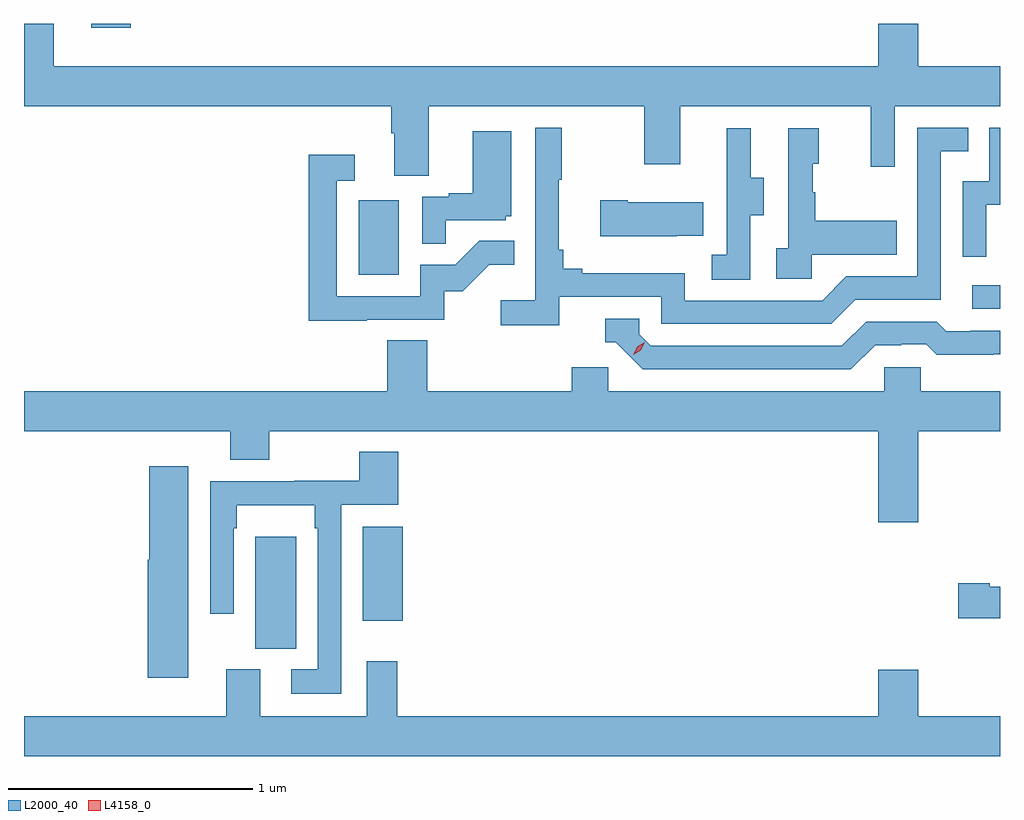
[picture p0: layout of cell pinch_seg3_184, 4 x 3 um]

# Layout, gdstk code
import gdstk
lib = gdstk.Library(unit=1e-6, precision=1e-09)
def R(c, l, rs):  # rectangles x0, y0, x1, y1
    for r in rs: c.add(gdstk.rectangle(r[:2], r[2:], *l))
def P(c, l, *ps):  # polygons
    for p in ps: c.add(gdstk.Polygon(p, *l))
L2000_40 = (2000, 40)
L4158_0 = (4158, 0)

pinch_seg3_184 = lib.new_cell('pinch_seg3_184')
R(pinch_seg3_184, L2000_40, [(1013.603,729.329,1013.77,729.787), (1014.044,729.443,1014.208,729.829), (1016.541,730.722,1016.655,730.818), (1014.026,730.86,1014.19,731.167), (1012.931,731.874,1013.093,731.889)])
P(pinch_seg3_184, L2000_40, [(1014.313,731.552),(1015.198,731.552),(1015.198,731.313),(1015.345,731.313),(1015.345,731.552),(1016.126,731.552),(1016.126,731.304),(1016.223,731.304),(1016.223,731.552),(1016.655,731.552),(1016.655,731.716),(1016.32,731.716),(1016.32,731.889),(1016.156,731.889),(1016.156,731.716),(1012.777,731.716),(1012.777,731.889),(1012.655,731.889),(1012.655,731.552),(1014.161,731.552),(1014.161,731.44),(1014.173,731.44),(1014.173,731.266),(1014.313,731.266)],
  [(1014.848,730.77),(1015.266,730.77),(1015.266,730.659),(1015.963,730.659),(1016.062,730.758),(1016.412,730.758),(1016.412,731.367),(1016.525,731.367),(1016.525,731.463),(1016.316,731.463),(1016.316,730.854),(1016.025,730.854),(1015.926,730.755),(1015.362,730.755),(1015.362,730.867),(1014.943,730.867),(1014.943,730.886),(1014.866,730.886),(1014.866,730.963),(1014.847,730.963),(1014.847,731.251),(1014.859,731.251),(1014.859,731.464),(1014.75,731.464),(1014.75,730.756),(1014.609,730.756),(1014.609,730.654),(1014.848,730.654)],
  [(1016.598,731.147),(1016.655,731.147),(1016.655,731.463),(1016.61,731.463),(1016.61,731.244),(1016.502,731.244),(1016.502,730.935),(1016.598,730.935)],
  [(1015.884,730.943),(1016.231,730.943),(1016.231,731.083),(1015.897,731.083),(1015.897,731.198),(1015.887,731.198),(1015.887,731.316),(1015.912,731.316),(1015.912,731.461),(1015.788,731.461),(1015.788,730.97),(1015.737,730.97),(1015.737,730.845),(1015.884,730.845)],
  [(1015.632,731.104),(1015.687,731.104),(1015.687,731.259),(1015.633,731.259),(1015.633,731.461),(1015.535,731.461),(1015.535,731.247),(1015.536,731.247),(1015.536,730.943),(1015.473,730.943),(1015.473,730.84),(1015.632,730.84)],
  [(1014.383,731.085),(1014.63,731.085),(1014.63,731.1),(1014.652,731.1),(1014.652,731.449),(1014.494,731.449),(1014.494,731.194),(1014.395,731.194),(1014.395,731.181),(1014.288,731.181),(1014.288,730.987),(1014.383,730.987)],
  [(1014.059,730.677),(1014.378,730.677),(1014.378,730.794),(1014.454,730.794),(1014.561,730.901),(1014.665,730.901),(1014.665,731),(1014.521,731),(1014.423,730.902),(1014.279,730.902),(1014.279,730.773),(1013.937,730.773),(1013.937,731.247),(1014.01,731.247),(1014.01,731.353),(1013.821,731.353),(1013.821,730.672),(1014.059,730.672)],
  [(1015.331,731.021),(1015.439,731.021),(1015.439,731.158),(1015.129,731.158),(1015.129,731.166),(1015.017,731.166),(1015.017,731.018),(1015.331,731.018)],
  [(1016.143,730.572),(1016.25,730.572),(1016.25,730.575),(1016.353,730.575),(1016.395,730.533),(1016.628,730.533),(1016.628,730.535),(1016.655,730.535),(1016.655,730.632),(1016.533,730.632),(1016.533,730.629),(1016.434,730.629),(1016.395,730.668),(1016.106,730.668),(1016.007,730.569),(1015.224,730.569),(1015.176,730.617),(1015.176,730.68),(1015.037,730.68),(1015.037,730.584),(1015.08,730.584),(1015.191,730.473),(1016.044,730.473)],
  [(1016.32,730.22),(1016.655,730.22),(1016.655,730.384),(1016.331,730.384),(1016.331,730.482),(1016.181,730.482),(1016.181,730.384),(1015.05,730.384),(1015.05,730.482),(1014.899,730.482),(1014.899,730.384),(1014.308,730.384),(1014.308,730.592),(1014.143,730.592),(1014.143,730.384),(1012.655,730.384),(1012.655,730.22),(1013.501,730.22),(1013.501,730.103),(1013.661,730.103),(1013.661,730.22),(1016.156,730.22),(1016.156,729.846),(1016.32,729.846)],
  [(1013.955,729.918),(1014.188,729.918),(1014.188,730.135),(1014.028,730.135),(1014.028,730.016),(1013.762,730.016),(1013.762,730.014),(1013.418,730.014),(1013.418,729.471),(1013.514,729.471),(1013.514,729.821),(1013.527,729.821),(1013.527,729.917),(1013.847,729.917),(1013.847,729.821),(1013.859,729.821),(1013.859,729.244),(1013.751,729.244),(1013.751,729.143),(1013.955,729.143)],
  [(1013.329,730.075),(1013.168,730.075),(1013.168,729.693),(1013.162,729.693),(1013.162,729.21),(1013.329,729.21)],
  [(1016.655,729.583),(1016.613,729.583),(1016.613,729.596),(1016.484,729.596),(1016.484,729.454),(1016.655,729.454)],
  [(1016.655,729.052),(1016.32,729.052),(1016.32,729.241),(1016.156,729.241),(1016.156,729.052),(1014.185,729.052),(1014.185,729.277),(1014.059,729.277),(1014.059,729.052),(1013.623,729.052),(1013.623,729.244),(1013.483,729.244),(1013.483,729.052),(1012.655,729.052),(1012.655,728.888),(1016.655,728.888)])
P(pinch_seg3_184, L4158_0, [(1015.151,730.532),(1015.151,730.532),(1015.168,730.565),(1015.199,730.584),(1015.199,730.584),(1015.199,730.584),(1015.183,730.551),(1015.152,730.532)])

lib.write_gds('pinch_seg3_184.gds')
